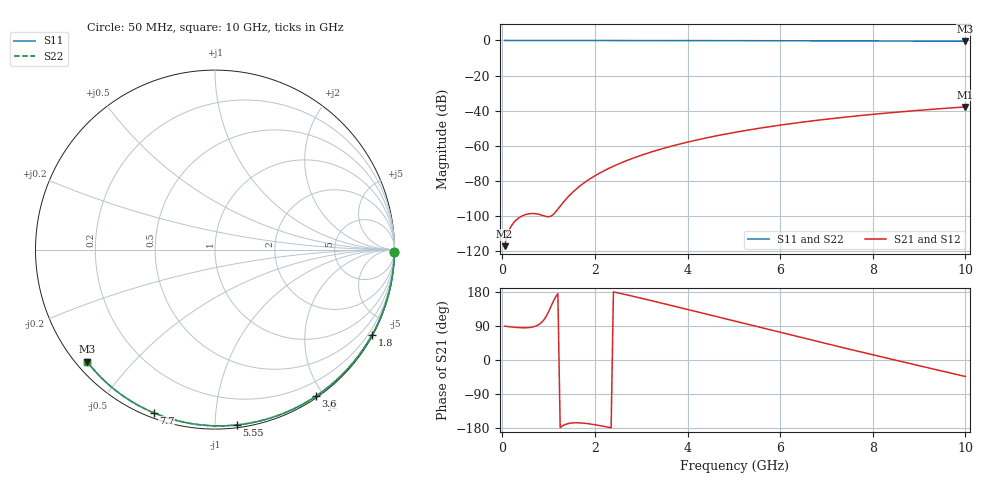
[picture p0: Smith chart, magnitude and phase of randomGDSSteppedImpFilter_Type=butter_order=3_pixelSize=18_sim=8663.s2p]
! freq	dB(S11)	phase(S11)	dB(S12)	phase(S12)
!  dB(S21)	phase(S21)	dB(S22)	phase(S22)
!S-par simulation data
#  GHz  S  DB  R 50
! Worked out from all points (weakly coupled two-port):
!   200 points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, 50 MHz to 10 GHz, reference 50 ohm
!   highest |S21| = -37.86 dB at 10 GHz (marker M1); lowest = -117.2 dB at 50 MHz (marker M2)
!   lowest |S11| = -0.5 dB at 10 GHz (marker M3), VSWR 36.88, Z = 1.55 - j18.8 ohm
!   |S11| at or under -10 dB: nowhere
!   |S22| runs from -0.5 to 0.0 dB; largest |S21 - S12| = 0
!   S11 on the Smith chart (normalised r, x): 50 MHz: open; 1.8 GHz: 0.03, -3.94; 3.6 GHz: 0.02, -1.90; 5.55 GHz: 0.02, -1.13; 7.7 GHz: 0.02, -0.69; 10 GHz: 0.03, -0.38
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0.05  -0.00 -0.8  -117.17 89.2  -117.17 89.2  -0.00 -0.8
0.45  -0.01 -7.2  -99.71 85.0  -99.71 85.0  -0.01 -7.2
0.9  -0.02 -14.4  -99.94 106.3  -99.94 106.3  -0.02 -14.4
1.75  -0.04 -27.7  -81.43 -166.6  -81.43 -166.6  -0.04 -27.7
1.8  -0.04 -28.4  -80.48 -167.3  -80.48 -167.3  -0.04 -28.4
1.85  -0.04 -29.2  -79.58 -168.0  -79.58 -168.0  -0.04 -29.2
2.05  -0.04 -32.3  -76.33 -171.8  -76.33 -171.8  -0.04 -32.3
2.25  -0.05 -35.4  -73.51 -176.4  -73.51 -176.4  -0.05 -35.4
2.55  -0.05 -39.9  -69.88 175.8  -69.88 175.8  -0.05 -39.9
2.95  -0.06 -46.0  -65.85 164.5  -65.85 164.5  -0.06 -46.0
3.4  -0.07 -52.6  -62.07 151.3  -62.07 151.3  -0.07 -52.6
3.6  -0.07 -55.6  -60.58 145.4  -60.58 145.4  -0.07 -55.6
3.9  -0.08 -59.9  -58.54 136.4  -58.54 136.4  -0.08 -59.9
4.3  -0.09 -65.6  -56.10 124.3  -56.10 124.3  -0.09 -65.6
5.05  -0.12 -76.1  -52.21 101.5  -52.21 101.5  -0.12 -76.1
5.55  -0.14 -82.9  -50.00 86.4  -50.00 86.4  -0.14 -82.9
6.1  -0.16 -90.2  -47.86 69.9  -47.86 69.9  -0.16 -90.2
6.7  -0.19 -98.0  -45.79 52.0  -45.79 52.0  -0.19 -98.0
7.7  -0.25 -110.6  -42.86 22.5  -42.86 22.5  -0.25 -110.6
8.35  -0.30 -118.7  -41.23 3.6  -41.23 3.6  -0.30 -118.7
9.2  -0.38 -129.0  -39.37 -20.8  -39.37 -20.8  -0.38 -129.0
10  -0.47 -138.7  -37.86 -43.6  -37.86 -43.6  -0.47 -138.7
